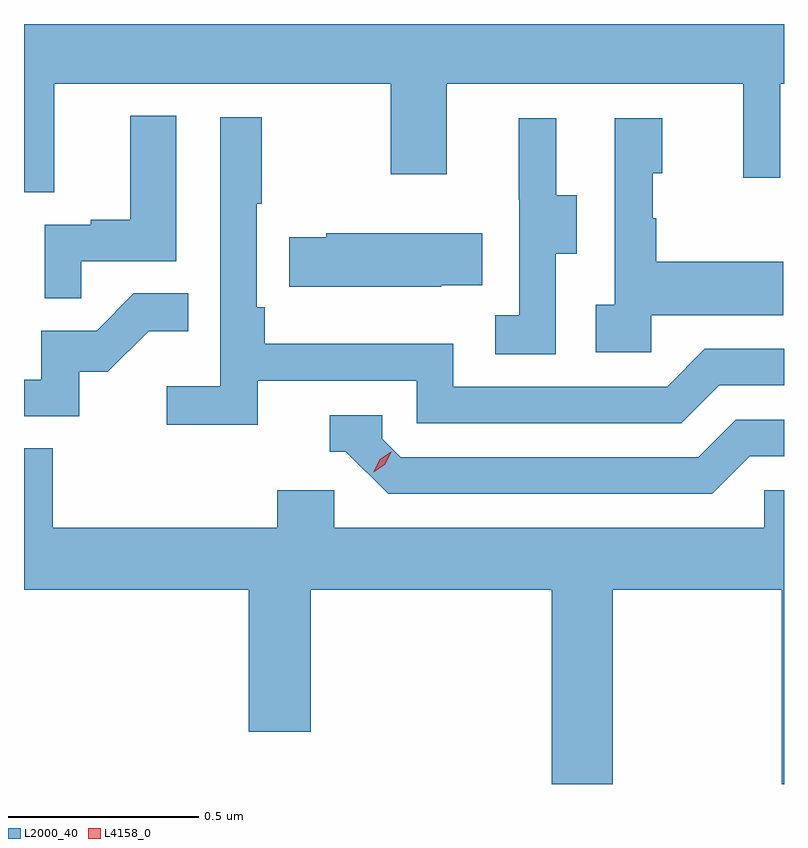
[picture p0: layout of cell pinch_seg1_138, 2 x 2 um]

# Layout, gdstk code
import gdstk
lib = gdstk.Library(unit=1e-6, precision=1e-09)
def P(c, l, *ps):  # polygons
    for p in ps: c.add(gdstk.Polygon(p, *l))
L2000_40 = (2000, 40)
L4158_0 = (4158, 0)

pinch_seg1_138 = lib.new_cell('pinch_seg1_138')
P(pinch_seg1_138, L2000_40, [(1015.645,550.4),(1016.53,550.4),(1016.53,550.161),(1016.677,550.161),(1016.677,550.4),(1017.458,550.4),(1017.458,550.152),(1017.555,550.152),(1017.555,550.4),(1017.565,550.4),(1017.565,550.557),(1015.565,550.557),(1015.565,550.114),(1015.645,550.114)],
  [(1015.715,549.933),(1015.966,549.933),(1015.966,550.315),(1015.844,550.315),(1015.844,550.042),(1015.741,550.042),(1015.741,550.029),(1015.62,550.029),(1015.62,549.835),(1015.715,549.835)],
  [(1016.18,549.618),(1016.598,549.618),(1016.598,549.507),(1017.295,549.507),(1017.394,549.606),(1017.565,549.606),(1017.565,549.702),(1017.357,549.702),(1017.258,549.603),(1016.694,549.603),(1016.694,549.715),(1016.198,549.715),(1016.198,549.811),(1016.178,549.811),(1016.178,550.084),(1016.191,550.084),(1016.191,550.312),(1016.082,550.312),(1016.082,549.604),(1015.941,549.604),(1015.941,549.502),(1016.18,549.502)],
  [(1016.964,549.952),(1017.019,549.952),(1017.019,550.107),(1016.965,550.107),(1016.965,550.309),(1016.867,550.309),(1016.867,550.095),(1016.868,550.095),(1016.868,549.791),(1016.805,549.791),(1016.805,549.688),(1016.964,549.688)],
  [(1017.216,549.791),(1017.563,549.791),(1017.563,549.931),(1017.229,549.931),(1017.229,550.046),(1017.219,550.046),(1017.219,550.164),(1017.244,550.164),(1017.244,550.309),(1017.12,550.309),(1017.12,549.818),(1017.069,549.818),(1017.069,549.693),(1017.216,549.693)],
  [(1016.663,549.869),(1016.771,549.869),(1016.771,550.006),(1016.361,550.006),(1016.361,549.996),(1016.263,549.996),(1016.263,549.866),(1016.663,549.866)],
  [(1015.71,549.642),(1015.786,549.642),(1015.893,549.749),(1015.997,549.749),(1015.997,549.848),(1015.854,549.848),(1015.756,549.75),(1015.611,549.75),(1015.611,549.621),(1015.565,549.621),(1015.565,549.525),(1015.71,549.525)],
  [(1017.475,549.42),(1017.565,549.42),(1017.565,549.516),(1017.438,549.516),(1017.339,549.417),(1016.556,549.417),(1016.508,549.465),(1016.508,549.528),(1016.369,549.528),(1016.369,549.432),(1016.412,549.432),(1016.523,549.321),(1017.376,549.321)],
  [(1017.114,549.068),(1017.559,549.068),(1017.559,548.557),(1017.565,548.557),(1017.565,549.33),(1017.513,549.33),(1017.513,549.232),(1016.382,549.232),(1016.382,549.33),(1016.231,549.33),(1016.231,549.232),(1015.64,549.232),(1015.64,549.44),(1015.565,549.44),(1015.565,549.068),(1016.156,549.068),(1016.156,548.694),(1016.32,548.694),(1016.32,549.068),(1016.954,549.068),(1016.954,548.557),(1017.114,548.557)])
P(pinch_seg1_138, L4158_0, [(1016.486,549.378),(1016.486,549.379),(1016.501,549.412),(1016.531,549.432),(1016.531,549.432),(1016.531,549.431),(1016.516,549.398),(1016.486,549.378)])

lib.write_gds('pinch_seg1_138.gds')
